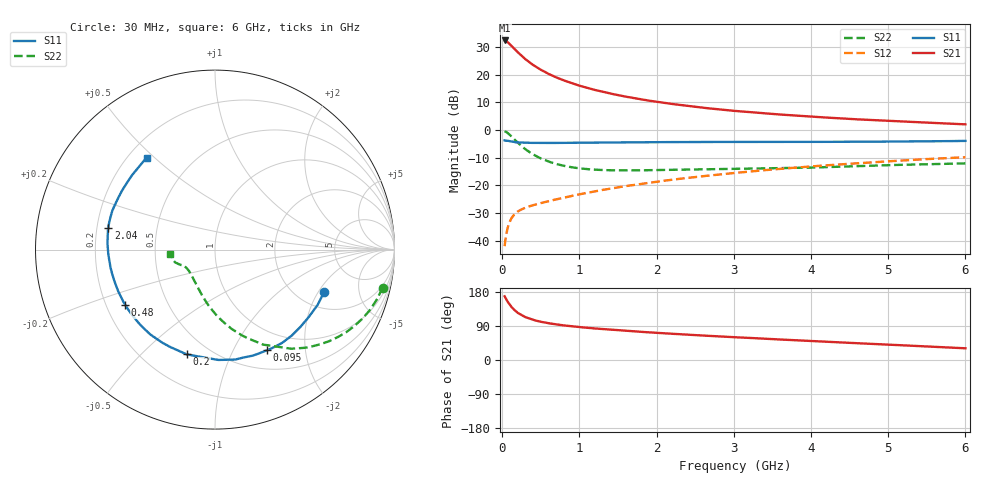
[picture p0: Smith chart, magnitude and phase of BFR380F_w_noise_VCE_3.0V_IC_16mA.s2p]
! Infineon Technologies  Discrete & RF Semiconductors
! BFR380F
! VCE =  3.0 V,  IC =  16 mA
! Common Emitter S-Parameters:  Nov 2015
# GHz  S  MA  R  50
!  f  S11  S21  S12  S22
! GHz  MAG  ANG  MAG  ANG  MAG  ANG  MAG  ANG
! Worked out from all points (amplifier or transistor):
!   206 points, 30 MHz to 6 GHz, reference 50 ohm
!   highest |S21| = 32.4 dB at 30 MHz (marker M1)
!   |S21| within 3 dB of that: start of sweep to 157.1 MHz
!   unconditionally stable (mu >= 1): 1.48 GHz to 5.063 GHz
!   at 200 MHz: K = 0.32, MSG = 28.8 dB, |S12| = -29.4 dB
!   at 1.56 GHz: K = 1.01, MAG = 15.8 dB, |S12| = -20.4 dB
!   at 6 GHz: K = 0.98, MSG = 5.9 dB, |S12| = -9.8 dB
!   lowest NFmin = 0.97 dB at 900 MHz
!   S11 on the Smith chart (normalised r, x): 30 MHz: 2.72, -2.26; 95 MHz: 0.73, -1.37; 200 MHz: 0.38, -0.69; 480 MHz: 0.28, -0.26; 2.04 GHz: 0.25, +0.09; 6 GHz: 0.27, +0.47
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0.03  0.6522 -21.4  41.73 168.1  0.008 80.8  0.9579 -12.8
0.05  0.6434 -35.8  40.66 160.3  0.0128 74.8  0.9281 -21.0
0.07  0.642 -48.6  38.77 153.6  0.0172 70.0  0.8864 -28.6
0.095  0.6309 -62.7  36.06 146.3  0.0217 65.0  0.8271 -37.1
0.12  0.622 -75.2  33.33 139.8  0.0257 60.7  0.7656 -44.7
0.145  0.6159 -86.1  30.73 134.2  0.0287 57.0  0.7071 -51.2
0.2  0.6047 -105.1  25.61 124.4  0.0338 51.9  0.5945 -63.0
0.24  0.5972 -114.9  22.7 119.5  0.0364 49.8  0.5297 -69.4
0.3  0.5946 -127.3  19.13 113.0  0.0397 48.1  0.4517 -78.1
0.4  0.5884 -140.9  15.02 105.9  0.044 47.8  0.3643 -88.9
0.48  0.5873 -148.4  12.79 101.8  0.0472 48.6  0.3178 -95.8
0.6  0.5872 -156.8  10.38 97.0  0.052 50.4  0.2703 -104.7
0.7  0.5876 -161.9  8.968 93.9  0.0561 52.0  0.2443 -110.9
0.9  0.5905 -169.6  7.043 89.0  0.0647 55.1  0.2132 -121.2
1.04  0.5916 -173.6  6.13 86.2  0.0709 56.9  0.2011 -127.1
1.4  0.5981 178.4  4.58 80.0  0.0878 60.2  0.1884 -138.5
2.02  0.6067 168.8  3.223 71.5  0.1181 62.8  0.1898 -148.2
2.04  0.6068 168.6  3.194 71.2  0.1191 62.9  0.19 -148.4
3.1  0.6111 157.0  2.177 59.3  0.173 63.1  0.2007 -154.6
4.1  0.6137 146.5  1.719 49.0  0.2259 60.7  0.2125 -156.7
5.1  0.6218 136.8  1.45 39.6  0.2784 57.1  0.2349 -163.2
6  0.6389 126.6  1.272 30.9  0.324 52.5  0.2506 -174.4
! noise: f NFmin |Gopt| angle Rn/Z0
0.45  0.99  0.14  165  0.08
0.9  0.97  0.22  162  0.08
1.8  1.22  0.33  179  0.07
1.9  1.29  0.33  -180  0.07
2.4  1.4  0.38  -168  0.08
3.5  1.99  0.48  -155  0.12
